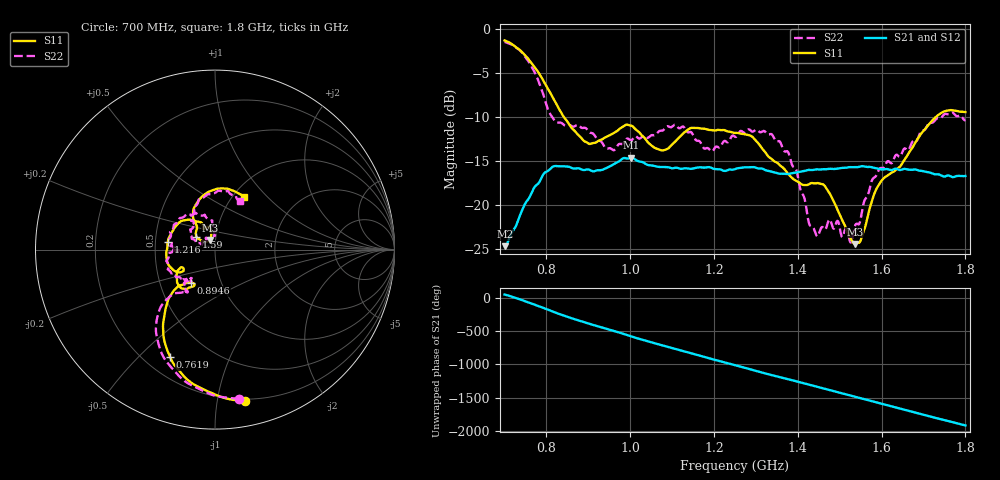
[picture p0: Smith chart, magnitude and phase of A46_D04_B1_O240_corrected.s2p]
! Created with skrf 1.9.0 (http://scikit-rf.org).
# Hz S RI R 50.0
!freq ReS11 ImS11 ReS21 ImS21 ReS12 ImS12 ReS22 ImS22
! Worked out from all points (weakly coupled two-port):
!   1601 points, 700 MHz to 1.8 GHz, reference 50 ohm
!   highest |S21| = -14.62 dB at 1.002 GHz (marker M1); lowest = -24.6 dB at 700.7 MHz (marker M2)
!   lowest |S11| = -24.4 dB at 1.536 GHz (marker M3), VSWR 1.13, Z = 47.1 + j5.08 ohm
!   |S11| at or under -10 dB: 841.4 MHz to 1.73 GHz (888.2 MHz wide, 69.1 % of centre)
!   |S22| runs from -24.2 to -1.5 dB; largest |S21 - S12| = 0.0034
!   S11 on the Smith chart (normalised r, x): 700 MHz: 0.19, -1.20; 761.9 MHz: 0.30, -0.62; 894.6 MHz: 0.72, -0.28; 1.216 GHz: 0.58, +0.05; 1.59 GHz: 0.80, +0.12; 1.8 GHz: 1.12, +0.75
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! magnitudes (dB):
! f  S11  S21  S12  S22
! 700 MHz  -1.3  -24.6  -24.4  -1.5
! 700.7 MHz  -1.3  -24.6  -24.3  -1.5
! 761.9 MHz  -3.8  -18.9  -18.8  -4.1
! 818.2 MHz  -8.0  -15.6  -15.7  -10.4
! 883.6 MHz  -12.4  -15.9  -15.8  -11.2
! 894.6 MHz  -12.8  -16.0  -16.1  -11.3
! 944.8 MHz  -12.2  -15.8  -15.8  -13.6
! 1.002 GHz  -11.0  -14.6  -14.7  -12.7
! 1.067 GHz  -13.7  -15.6  -15.6  -11.7
! 1.144 GHz  -11.3  -15.9  -15.9  -11.7
! 1.216 GHz  -11.5  -16.0  -16.0  -13.4
! 1.25 GHz  -11.8  -15.9  -15.8  -12.2
! 1.357 GHz  -15.5  -16.4  -16.4  -12.8
! 1.396 GHz  -17.2  -16.3  -16.3  -15.9
! 1.434 GHz  -17.5  -16.0  -16.0  -22.4
! 1.467 GHz  -18.0  -15.9  -15.9  -22.6
! 1.526 GHz  -23.7  -15.7  -15.7  -24.2
! 1.536 GHz  -24.4  -15.7  -15.7  -22.4
! 1.59 GHz  -18.0  -15.9  -15.8  -16.4
! 1.617 GHz  -16.5  -16.0  -15.9  -15.0
! 1.733 GHz  -9.9  -16.5  -16.5  -10.2
! 1.8 GHz  -9.4  -16.7  -16.7  -10.4
